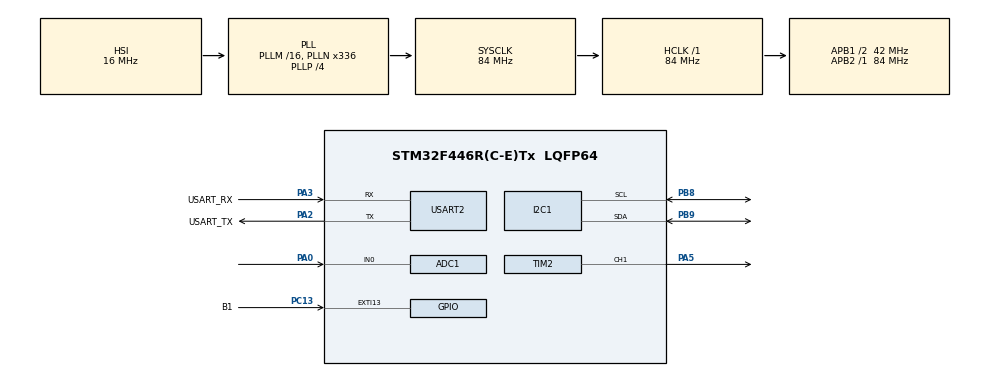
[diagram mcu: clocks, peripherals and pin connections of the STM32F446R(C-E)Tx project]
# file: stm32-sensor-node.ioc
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ADC1.Channel-0\#ChannelRegularConversion=ADC_CHANNEL_0
ADC1.Channel-1\#ChannelRegularConversion=ADC_CHANNEL_TEMPSENSOR
ADC1.Channel-2\#ChannelRegularConversion=ADC_CHANNEL_VREFINT
ADC1.ContinuousConvMode=ENABLE
ADC1.DMAContinuousRequests=ENABLE
ADC1.NbrOfConversion=3
ADC1.NbrOfConversionFlag=1
ADC1.Rank-0\#ChannelRegularConversion=1
ADC1.Rank-1\#ChannelRegularConversion=2
ADC1.Rank-2\#ChannelRegularConversion=3
ADC1.SamplingTime-0\#ChannelRegularConversion=ADC_SAMPLETIME_480CYCLES
ADC1.SamplingTime-1\#ChannelRegularConversion=ADC_SAMPLETIME_480CYCLES
ADC1.SamplingTime-2\#ChannelRegularConversion=ADC_SAMPLETIME_480CYCLES
ADC1.ScanConvMode=ENABLE
ADC1.master=1
Dma.ADC1.0.Direction=DMA_PERIPH_TO_MEMORY
Dma.ADC1.0.FIFOMode=DMA_FIFOMODE_DISABLE
Dma.ADC1.0.Instance=DMA2_Stream0
Dma.ADC1.0.MemDataAlignment=DMA_MDATAALIGN_HALFWORD
Dma.ADC1.0.MemInc=DMA_MINC_ENABLE
Dma.ADC1.0.Mode=DMA_CIRCULAR
Dma.ADC1.0.PeriphDataAlignment=DMA_PDATAALIGN_HALFWORD
Dma.ADC1.0.PeriphInc=DMA_PINC_DISABLE
Dma.ADC1.0.Priority=DMA_PRIORITY_LOW
Dma.Request0=ADC1
Mcu.Family=STM32F4
Mcu.Name=STM32F446R(C-E)Tx
Mcu.Package=LQFP64
NVIC.DMA2_Stream0_IRQn=true\:0\:0\:false\:false\:true\:false\:true\:true
NVIC.EXTI15_10_IRQn=true\:0\:0\:false\:false\:true\:true\:true\:true
NVIC.PriorityGroup=NVIC_PRIORITYGROUP_0
NVIC.TIM6_DAC_IRQn=true\:0\:0\:false\:false\:true\:true\:true\:true
NVIC.USART2_IRQn=true\:0\:0\:false\:false\:true\:true\:true\:true
PA0-WKUP.Signal=ADCx_IN0
PA13.GPIO_Label=TMS
PA13.Mode=Serial_Wire
PA13.Signal=SYS_JTMS-SWDIO
PA14.GPIO_Label=TCK
PA14.Mode=Serial_Wire
PA14.Signal=SYS_JTCK-SWCLK
PA2.GPIO_Label=USART_TX
PA2.Mode=Asynchronous
PA2.Signal=USART2_TX
PA3.GPIO_Label=USART_RX
PA3.Mode=Asynchronous
PA3.Signal=USART2_RX
PA5.Signal=S_TIM2_CH1_ETR
PB3.GPIO_Label=SWO
PB3.Signal=SYS_JTDO-SWO
PB8.Mode=I2C
PB8.Signal=I2C1_SCL
PB9.Mode=I2C
PB9.Signal=I2C1_SDA
PC13.GPIO_Label=B1
PC13.GPIO_ModeDefaultEXTI=GPIO_MODE_IT_FALLING
PC13.Signal=GPXTI13
PC14-OSC32_IN.Signal=RCC_OSC32_IN
PC15-OSC32_OUT.Signal=RCC_OSC32_OUT
PH0-OSC_IN.Signal=RCC_OSC_IN
PH1-OSC_OUT.Signal=RCC_OSC_OUT
ProjectManager.HeapSize=0x200
ProjectManager.StackSize=0x400
ProjectManager.TargetToolchain=STM32CubeIDE
RCC.AHBFreq_Value=84000000
RCC.APB1CLKDivider=RCC_HCLK_DIV2
RCC.APB1Freq_Value=42000000
RCC.APB1TimFreq_Value=84000000
RCC.APB2Freq_Value=84000000
RCC.APB2TimFreq_Value=84000000
RCC.CortexFreq_Value=84000000
RCC.FLatency-AdvancedSettings=FLASH_LATENCY_2
RCC.HCLKFreq_Value=84000000
RCC.HSE_VALUE=8000000
RCC.HSI_VALUE=16000000
RCC.LSE_VALUE=32768
RCC.PLLN=336
RCC.PLLP=RCC_PLLP_DIV4
RCC.SYSCLKFreq_VALUE=84000000
RCC.SYSCLKSource=RCC_SYSCLKSOURCE_PLLCLK
RCC.USBFreq_Value=168000000
RCC.VCOOutputFreq_Value=336000000
SH.ADCx_IN0.0=ADC1_IN0,IN0
SH.S_TIM2_CH1_ETR.0=TIM2_CH1,PWM Generation1 CH1
TIM2.Channel-PWM\ Generation1\ CH1=TIM_CHANNEL_1
TIM2.Period=999
TIM2.Prescaler=83
TIM6.Period=49999
TIM6.Prescaler=8399
USART2.VirtualMode=VM_ASYNC
VP_ADC1_TempSens_Input.Mode=IN-TempSens
VP_ADC1_Vref_Input.Mode=IN-Vrefint
VP_TIM2_VS_ClockSourceINT.Mode=Internal
VP_TIM6_VS_ClockSourceINT.Mode=Enable_Timer
board=NUCLEO-F446RE

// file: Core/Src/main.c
/* USER CODE BEGIN Header */
/**
  ******************************************************************************
  * @file           : main.c
  * @brief          : Main program body
  ******************************************************************************
  * @attention
  *
  * Copyright (c) 2026 STMicroelectronics.
  * All rights reserved.
  *
  * This software is licensed under terms that can be found in the LICENSE file
  * in the root directory of this software component.
  * If no LICENSE file comes with this software, it is provided AS-IS.
  *
  ******************************************************************************
  */
/* USER CODE END Header */
#include "main.h"

/* USER CODE BEGIN Includes */

#include <stdbool.h>
#include <string.h>
#include <stdio.h>
#include "bme280.h"

/* USER CODE END Includes */

/* USER CODE BEGIN PD */

#define QUEUE_SIZE                     64
#define COMMAND_MAX_LENGTH             32
#define ADC_MAX_COUNT                  4095
#define ADC_REFERENCE_MILLIVOLTS 3300
#define ADC_TIMEOUT_MS 10

#define ADC_CHANNEL_COUNT              3

#define ADC_SLOT_A0                    0
#define ADC_SLOT_CHIP_TEMPERATURE      1
#define ADC_SLOT_INTERNAL_REFERENCE    2

#define TS_CAL1_ADDRESS                ((const uint16_t *)0x1FFF7A2C)
#define TS_CAL2_ADDRESS                ((const uint16_t *)0x1FFF7A2E)
#define VREFINT_CAL_ADDRESS            ((const uint16_t *)0x1FFF7A2A)

#define FACTORY_SUPPLY_MILLIVOLTS      3300
#define TS_CAL1_TEMPERATURE_C          30
#define TS_CAL2_TEMPERATURE_C          110

/* USER CODE END PD */

ADC_HandleTypeDef hadc1;
DMA_HandleTypeDef hdma_adc1;

I2C_HandleTypeDef hi2c1;

TIM_HandleTypeDef htim2;
TIM_HandleTypeDef htim6;

UART_HandleTypeDef huart2;

/* USER CODE BEGIN PV */

volatile uint8_t button_pressed =   0;
uint32_t last_press_ms =            0;
uint8_t incoming_byte;
volatile uint8_t received_bytes[QUEUE_SIZE];
volatile uint8_t next_read_index =  0;
volatile uint8_t next_write_index = 0;
char command_text[COMMAND_MAX_LENGTH];
uint8_t command_length =            0;
uint32_t press_count;
char press_message[32];
bool bme280_ready = false;
volatile uint8_t report_timer_elapsed = 0;
bool auto_report_enabled = false;
uint8_t led_brightness_percent = 0;
volatile uint16_t adc_latest_counts[ADC_CHANNEL_COUNT];

/* USER CODE END PV */

void SystemClock_Config(void);
static void MX_GPIO_Init(void);
static void MX_DMA_Init(void);
static void MX_USART2_UART_Init(void);
static void MX_I2C1_Init(void);
static void MX_TIM2_Init(void);
static void MX_TIM6_Init(void);
static void MX_ADC1_Init(void);

/* USER CODE BEGIN 0 */

static uint32_t measure_supply_millivolts(void)
{
	uint32_t curvref = adc_latest_counts[ADC_SLOT_INTERNAL_REFERENCE];
	if(curvref == 0){ return 0; }
	uint32_t calc = (FACTORY_SUPPLY_MILLIVOLTS * (*VREFINT_CAL_ADDRESS)) / curvref;
	return calc;
}

static uint32_t measure_a0_millivolts(void)
{
	uint32_t latest_a0_count = adc_latest_counts[ADC_SLOT_A0];
	return (latest_a0_count * measure_supply_millivolts()) / ADC_MAX_COUNT;
}

static int32_t measure_chip_temperature_hundredths(void)
{
	int32_t sensor_count = adc_latest_counts[ADC_SLOT_CHIP_TEMPERATURE];
	int32_t sensor_count_at_factory_supply = (sensor_count * (int32_t)measure_supply_millivolts()) / FACTORY_SUPPLY_MILLIVOLTS;

	int32_t count_at_30c = *TS_CAL1_ADDRESS;
	int32_t count_at_110c = *TS_CAL2_ADDRESS;

	if(count_at_30c == count_at_110c) { return 0; }

	int32_t temp = 3000
			+ (((sensor_count_at_factory_supply - count_at_30c)
			* (TS_CAL2_TEMPERATURE_C - TS_CAL1_TEMPERATURE_C) * 100)
			/(count_at_110c - count_at_30c));

	return temp;
}

static uint32_t adc_count_to_millivolts(uint16_t raw_count)
{
    return ((uint32_t)raw_count * ADC_REFERENCE_MILLIVOLTS) / ADC_MAX_COUNT;
}

static bool read_a0_raw_count(uint16_t *a0_raw_count)
{
    if(HAL_ADC_Start(&hadc1) != HAL_OK){ return false; }
    if(HAL_ADC_PollForConversion(&hadc1, ADC_TIMEOUT_MS) != HAL_OK)
    {
    	HAL_ADC_Stop(&hadc1);
    	return false;
    }

    *a0_raw_count = (uint16_t)HAL_ADC_GetValue(&hadc1);
    HAL_ADC_Stop(&hadc1);
    return true;
}

static void set_led_brightness(uint8_t brightness_percent)
{
	if(brightness_percent > 100)
	{
		brightness_percent = 100;
	}
	led_brightness_percent = brightness_percent;

	uint16_t timer_ticks = (brightness_percent * 10);

	__HAL_TIM_SET_COMPARE(&htim2, TIM_CHANNEL_1, timer_ticks);
}

static int32_t celsius_to_fahrenheit_hundredths(int32_t celsius_hundredths)
{
	return ((celsius_hundredths * 9) / 5) + 3200;
}

static void send_message(const char *text)
{
	HAL_UART_Transmit(&huart2, (uint8_t *)text, strlen(text), HAL_MAX_DELAY);
}

static void send_reading(const char *label, int32_t value_hundredths, const char *unit)
{
	const char *sign = "";

	if (value_hundredths < 0)
	{
		sign = "-";
		value_hundredths = -value_hundredths;
	}

	char reading_message[48];

	snprintf(reading_message, sizeof(reading_message), "%s %s%ld.%02ld %s\r\n",
			label, sign, (long)value_hundredths / 100, (long)value_hundredths % 100, unit);

	send_message(reading_message);
}

static bool queue_add_byte(uint8_t byte)
{
	uint8_t index_after_write = (next_write_index + 1) & (QUEUE_SIZE -1);
	if (index_after_write == next_read_index)
	{
		return false;
	}
	received_bytes[next_write_index] = byte;
	next_write_index = index_after_write;
	return true;
}

static bool queue_is_empty(void)
{
	return next_write_index == next_read_index;
}

static uint8_t queue_take_byte(void)
{
	uint8_t byte_taken = received_bytes[next_read_index];
	next_read_index = (next_read_index + 1) & (QUEUE_SIZE - 1);
	return byte_taken;
}

static bool get_store_readings(bme_measurements *reading)
{
	if(!bme280_ready || !bme280_read(reading))
	{
		send_message("Sensor not responding\r\n");
		return false;
	}
	return true;
}

static void send_all_readings(void)
{
	bme_measurements readings;
	if(!get_store_readings(&readings)){ return; }
	send_reading("Temperature", readings.temperature_hundredths, "C");
	int32_t F = celsius_to_fahrenheit_hundredths(readings.temperature_hundredths);

	send_reading("Temperature", F, "F");
	send_reading("Humidity", (int32_t)readings.humidity_hundredths, "%");
	send_reading("Pressure", (int32_t)readings.pressure_pascals, "hPa");
}

static void run_command(void)
{
	if(command_length == 0)
	{
		return;
	}

	else if(strcmp(command_text, "led_on") == 0)
	{
		set_led_brightness(100);
		send_message("OK\r\n");
	}
	else if(strcmp(command_text, "led_off") == 0)
	{
		set_led_brightness(0);
		send_message("OK\r\n");
	}
	else if(strcmp(command_text, "status") == 0)
	{
		char status_message[48];
		snprintf(status_message, sizeof(status_message), "LED brightness %d%% Presses %lu\r\n",
				(int)led_brightness_percent, (unsigned long)press_count);
		send_message(status_message);
	}
	else if(strcmp(command_text, "sensor_id") == 0)
	{
		uint8_t sensor_id_value = 0;

		if (!bme280_read_id(&sensor_id_value))
		{
			send_message("Sensor not responding\r\n");
		}
		else
		{
			char id_message[32];
			snprintf(id_message, sizeof(id_message), "BME280 ID 0x%02X\r\n", sensor_id_value);
			send_message(id_message);
		}
	}
	else if (strcmp(command_text, "temp") == 0)
	{
		bme_measurements values;
		if(get_store_readings(&values))
		{
			send_reading("Temperature", values.temperature_hundredths, "C");
			send_reading("Temperature", celsius_to_fahrenheit_hundredths(values.temperature_hundredths), "F");
		}
	}
	else if (strcmp(command_text, "humidity") == 0)
	{
		bme_measurements values;
		if(get_store_readings(&values))
		{
			send_reading("Humidity", (int32_t)values.humidity_hundredths, "%");
		}
	}
	else if (strcmp(command_text, "pressure") == 0)
	{
		bme_measurements values;
		if(get_store_readings(&values))
		{
			send_reading("Pressure", (int32_t)values.pressure_pascals, "hPa");
		}
	}
	else if (strcmp(command_text, "read") == 0)
	{
		send_all_readings();
	}
	else if (strcmp(command_text, "auto_on") == 0)
	{
		auto_report_enabled = true;
		send_message("OK\r\n");
	}
	else if (strcmp(command_text, "auto_off") == 0)
	{
		auto_report_enabled = false;
		send_message("OK\r\n");
	}
	else if (strcmp(command_text, "a0_voltage") == 0)
	{
		char voltage_message[48];

		snprintf(voltage_message, sizeof(voltage_message), "A0 raw %u = %lu mV\r\n",
				(unsigned int)adc_latest_counts[ADC_SLOT_A0], (unsigned long)measure_a0_millivolts());
		send_message(voltage_message);
	}
	else if (strcmp(command_text, "supply_voltage") == 0)
	{
		char supply_message[32];
		snprintf(supply_message, sizeof(supply_message), "Supply %lu mV\r\n",
		         (unsigned long)measure_supply_millivolts());
		send_message(supply_message);
	}
	else if (strcmp(command_text, "chip_temp") == 0)
	{
		send_reading("Chip temperature", measure_chip_temperature_hundredths(), "C");

		bme_measurements room;
		if (get_store_readings(&room))
		{
			int32_t F = celsius_to_fahrenheit_hundredths(room.temperature_hundredths);
			send_reading("Room temperature (BME280)", room.temperature_hundredths, "C");
			send_reading("Room temperature (BME280)", F, "F");
		}
	}
	else if (strcmp(command_text, "crash_bad_address") == 0)
	{
		send_message("Reading from an address with no memory...\r\n");
		volatile uint32_t value_from_nowhere = *(volatile uint32_t *)0x20030000;
		(void)value_from_nowhere;
	}
	else if (strcmp(command_text, "crash_divide_by_zero") == 0)
	{
		send_message("Dividing by zero...\r\n");
		volatile int32_t numerator = 10;
		volatile int32_t denominator = 0;
		volatile int32_t result = numerator/denominator;
	}
	else
	{
		send_message("Unknown command\r\n");
	}
}

static uint8_t new_brightness(uint8_t current)
{
	uint8_t new = current +25;
	if (new > 100)
	{
		return 0;
	}
	else
	{
		return new;
	}
}

/* USER CODE END 0 */

int main(void)
{

  /* MCU Configuration--------------------------------------------------------*/

  /* Reset of all peripherals, Initializes the Flash interface and the Systick. */
  HAL_Init();

  /* Configure the system clock */
  SystemClock_Config();

  /* Initialize all configured peripherals */
  MX_GPIO_Init();
  MX_DMA_Init();
  MX_USART2_UART_Init();
  MX_I2C1_Init();
  MX_TIM2_Init();
  MX_TIM6_Init();
  MX_ADC1_Init();
  /* USER CODE BEGIN 2 */

  SCB->CCR |= SCB_CCR_DIV_0_TRP_Msk;

  if(HAL_ADC_Start_DMA(&hadc1, (uint32_t *)adc_latest_counts, ADC_CHANNEL_COUNT) != HAL_OK)
  {
	  Error_Handler();
  }
  bme280_ready = bme280_init(&hi2c1);

  HAL_TIM_Base_Start_IT(&htim6);
  HAL_TIM_PWM_Start(&htim2, TIM_CHANNEL_1);

  if(!bme280_ready)
  {
	  send_message("bme 280 is not ready\r\n");
  }

  HAL_UART_Receive_IT(&huart2, &incoming_byte, 1);
  send_message("\r\nReady. Commands: led_on, led_off, status, sensor_id, "
		  "temp, humidity, pressure, read, auto_on, auto_off, a0_voltage, supply_voltage, chip_temp, "
		  "crash_bad_address, crash_divide_by_zero\r\n> ");

  /* USER CODE END 2 */

  /* Infinite loop */
  while (1)
  {

    /* USER CODE BEGIN 3 */

	if(report_timer_elapsed == 1)
	{
		report_timer_elapsed = 0;
		if(auto_report_enabled == true)
		{
			send_all_readings();
		}
	}

	if(button_pressed)
	{
		press_count++;
		button_pressed = 0;
		int len = snprintf(press_message, sizeof(press_message), "Pressed %lu\r\n", (unsigned long)press_count);
		HAL_UART_Transmit(&huart2, (uint8_t *)press_message, len, HAL_MAX_DELAY);
		set_led_brightness(new_brightness(led_brightness_percent));
	}
	// while loop that transmits until queue is empty
	while(!queue_is_empty())
	{
		uint8_t current_byte = queue_take_byte();

		// enter
		if(current_byte == '\r')
		{
			send_message("\r\n");
			command_text[command_length] = '\0';
			run_command();
			command_length = 0;
			send_message("> ");
		}
		// backspace
		else if(current_byte == 0x7F || current_byte == '\b')
		{
			if(command_length > 0)
			{
				send_message("\b \b");
				command_length--;
			}

		}
		// normal character
		else if(command_length < (COMMAND_MAX_LENGTH - 1))
		{
			command_text[command_length] = current_byte;
			command_length++;
			HAL_UART_Transmit(&huart2, &current_byte, 1, HAL_MAX_DELAY);
		}

	}
  }
  /* USER CODE END 3 */
}

void SystemClock_Config(void)
{
  RCC_OscInitTypeDef RCC_OscInitStruct = {0};
  RCC_ClkInitTypeDef RCC_ClkInitStruct = {0};

  /** Configure the main internal regulator output voltage
  */
  __HAL_RCC_PWR_CLK_ENABLE();
  __HAL_PWR_VOLTAGESCALING_CONFIG(PWR_REGULATOR_VOLTAGE_SCALE3);

  /** Initializes the RCC Oscillators according to the specified parameters
  * in the RCC_OscInitTypeDef structure.
  */
  RCC_OscInitStruct.OscillatorType = RCC_OSCILLATORTYPE_HSI;
  RCC_OscInitStruct.HSIState = RCC_HSI_ON;
  RCC_OscInitStruct.HSICalibrationValue = RCC_HSICALIBRATION_DEFAULT;
  RCC_OscInitStruct.PLL.PLLState = RCC_PLL_ON;
  RCC_OscInitStruct.PLL.PLLSource = RCC_PLLSOURCE_HSI;
  RCC_OscInitStruct.PLL.PLLM = 16;
  RCC_OscInitStruct.PLL.PLLN = 336;
  RCC_OscInitStruct.PLL.PLLP = RCC_PLLP_DIV4;
  RCC_OscInitStruct.PLL.PLLQ = 2;
  RCC_OscInitStruct.PLL.PLLR = 2;
  if (HAL_RCC_OscConfig(&RCC_OscInitStruct) != HAL_OK)
  {
    Error_Handler();
  }

  /** Initializes the CPU, AHB and APB buses clocks
  */
  RCC_ClkInitStruct.ClockType = RCC_CLOCKTYPE_HCLK|RCC_CLOCKTYPE_SYSCLK
                              |RCC_CLOCKTYPE_PCLK1|RCC_CLOCKTYPE_PCLK2;
  RCC_ClkInitStruct.SYSCLKSource = RCC_SYSCLKSOURCE_PLLCLK;
  RCC_ClkInitStruct.AHBCLKDivider = RCC_SYSCLK_DIV1;
  RCC_ClkInitStruct.APB1CLKDivider = RCC_HCLK_DIV2;
  RCC_ClkInitStruct.APB2CLKDivider = RCC_HCLK_DIV1;

  if (HAL_RCC_ClockConfig(&RCC_ClkInitStruct, FLASH_LATENCY_2) != HAL_OK)
  {
    Error_Handler();
  }
}

static void MX_ADC1_Init(void)
{

  ADC_ChannelConfTypeDef sConfig = {0};

  /** Configure the global features of the ADC (Clock, Resolution, Data Alignment and number of conversion)
  */
  hadc1.Instance = ADC1;
  hadc1.Init.ClockPrescaler = ADC_CLOCK_SYNC_PCLK_DIV4;
  hadc1.Init.Resolution = ADC_RESOLUTION_12B;
  hadc1.Init.ScanConvMode = ENABLE;
  hadc1.Init.ContinuousConvMode = ENABLE;
  hadc1.Init.DiscontinuousConvMode = DISABLE;
  hadc1.Init.ExternalTrigConvEdge = ADC_EXTERNALTRIGCONVEDGE_NONE;
  hadc1.Init.ExternalTrigConv = ADC_SOFTWARE_START;
  hadc1.Init.DataAlign = ADC_DATAALIGN_RIGHT;
  hadc1.Init.NbrOfConversion = 3;
  hadc1.Init.DMAContinuousRequests = ENABLE;
  hadc1.Init.EOCSelection = ADC_EOC_SINGLE_CONV;
  if (HAL_ADC_Init(&hadc1) != HAL_OK)
  {
    Error_Handler();
  }

  /** Configure for the selected ADC regular channel its corresponding rank in the sequencer and its sample time.
  */
  sConfig.Channel = ADC_CHANNEL_0;
  sConfig.Rank = 1;
  sConfig.SamplingTime = ADC_SAMPLETIME_480CYCLES;
  if (HAL_ADC_ConfigChannel(&hadc1, &sConfig) != HAL_OK)
  {
    Error_Handler();
  }

  /** Configure for the selected ADC regular channel its corresponding rank in the sequencer and its sample time.
  */
  sConfig.Channel = ADC_CHANNEL_TEMPSENSOR;
  sConfig.Rank = 2;
  if (HAL_ADC_ConfigChannel(&hadc1, &sConfig) != HAL_OK)
  {
    Error_Handler();
  }

  /** Configure for the selected ADC regular channel its corresponding rank in the sequencer and its sample time.
  */
  sConfig.Channel = ADC_CHANNEL_VREFINT;
  sConfig.Rank = 3;
  if (HAL_ADC_ConfigChannel(&hadc1, &sConfig) != HAL_OK)
  {
    Error_Handler();
  }

}

static void MX_I2C1_Init(void)
{

  hi2c1.Instance = I2C1;
  hi2c1.Init.ClockSpeed = 100000;
  hi2c1.Init.DutyCycle = I2C_DUTYCYCLE_2;
  hi2c1.Init.OwnAddress1 = 0;
  hi2c1.Init.AddressingMode = I2C_ADDRESSINGMODE_7BIT;
  hi2c1.Init.DualAddressMode = I2C_DUALADDRESS_DISABLE;
  hi2c1.Init.OwnAddress2 = 0;
  hi2c1.Init.GeneralCallMode = I2C_GENERALCALL_DISABLE;
  hi2c1.Init.NoStretchMode = I2C_NOSTRETCH_DISABLE;
  if (HAL_I2C_Init(&hi2c1) != HAL_OK)
  {
    Error_Handler();
  }

}

static void MX_TIM2_Init(void)
{

  TIM_ClockConfigTypeDef sClockSourceConfig = {0};
  TIM_MasterConfigTypeDef sMasterConfig = {0};
  TIM_OC_InitTypeDef sConfigOC = {0};

  htim2.Instance = TIM2;
  htim2.Init.Prescaler = 83;
  htim2.Init.CounterMode = TIM_COUNTERMODE_UP;
  htim2.Init.Period = 999;
  htim2.Init.ClockDivision = TIM_CLOCKDIVISION_DIV1;
  htim2.Init.AutoReloadPreload = TIM_AUTORELOAD_PRELOAD_DISABLE;
  if (HAL_TIM_Base_Init(&htim2) != HAL_OK)
  {
    Error_Handler();
  }
  sClockSourceConfig.ClockSource = TIM_CLOCKSOURCE_INTERNAL;
  if (HAL_TIM_ConfigClockSource(&htim2, &sClockSourceConfig) != HAL_OK)
  {
    Error_Handler();
  }
  if (HAL_TIM_PWM_Init(&htim2) != HAL_OK)
  {
    Error_Handler();
  }
  sMasterConfig.MasterOutputTrigger = TIM_TRGO_RESET;
  sMasterConfig.MasterSlaveMode = TIM_MASTERSLAVEMODE_DISABLE;
  if (HAL_TIMEx_MasterConfigSynchronization(&htim2, &sMasterConfig) != HAL_OK)
  {
    Error_Handler();
  }
  sConfigOC.OCMode = TIM_OCMODE_PWM1;
  sConfigOC.Pulse = 0;
  sConfigOC.OCPolarity = TIM_OCPOLARITY_HIGH;
  sConfigOC.OCFastMode = TIM_OCFAST_DISABLE;
  if (HAL_TIM_PWM_ConfigChannel(&htim2, &sConfigOC, TIM_CHANNEL_1) != HAL_OK)
  {
    Error_Handler();
  }
  HAL_TIM_MspPostInit(&htim2);

}

static void MX_TIM6_Init(void)
{

  TIM_MasterConfigTypeDef sMasterConfig = {0};

  htim6.Instance = TIM6;
  htim6.Init.Prescaler = 8399;
  htim6.Init.CounterMode = TIM_COUNTERMODE_UP;
  htim6.Init.Period = 49999;
  htim6.Init.AutoReloadPreload = TIM_AUTORELOAD_PRELOAD_DISABLE;
  if (HAL_TIM_Base_Init(&htim6) != HAL_OK)
  {
    Error_Handler();
  }
  sMasterConfig.MasterOutputTrigger = TIM_TRGO_RESET;
  sMasterConfig.MasterSlaveMode = TIM_MASTERSLAVEMODE_DISABLE;
  if (HAL_TIMEx_MasterConfigSynchronization(&htim6, &sMasterConfig) != HAL_OK)
  {
    Error_Handler();
  }

}

static void MX_USART2_UART_Init(void)
{

  huart2.Instance = USART2;
  huart2.Init.BaudRate = 115200;
  huart2.Init.WordLength = UART_WORDLENGTH_8B;
  huart2.Init.StopBits = UART_STOPBITS_1;
  huart2.Init.Parity = UART_PARITY_NONE;
  huart2.Init.Mode = UART_MODE_TX_RX;
  huart2.Init.HwFlowCtl = UART_HWCONTROL_NONE;
  huart2.Init.OverSampling = UART_OVERSAMPLING_16;
  if (HAL_UART_Init(&huart2) != HAL_OK)
  {
    Error_Handler();
  }

}

static void MX_DMA_Init(void)
{

  /* DMA controller clock enable */
  __HAL_RCC_DMA2_CLK_ENABLE();

  /* DMA interrupt init */
  /* DMA2_Stream0_IRQn interrupt configuration */
  HAL_NVIC_SetPriority(DMA2_Stream0_IRQn, 0, 0);
  HAL_NVIC_EnableIRQ(DMA2_Stream0_IRQn);

}

static void MX_GPIO_Init(void)
{
  GPIO_InitTypeDef GPIO_InitStruct = {0};

  /* GPIO Ports Clock Enable */
  __HAL_RCC_GPIOC_CLK_ENABLE();
  __HAL_RCC_GPIOH_CLK_ENABLE();
  __HAL_RCC_GPIOA_CLK_ENABLE();
  __HAL_RCC_GPIOB_CLK_ENABLE();

  /*Configure GPIO pin : B1_Pin */
  GPIO_InitStruct.Pin = B1_Pin;
  GPIO_InitStruct.Mode = GPIO_MODE_IT_FALLING;
  GPIO_InitStruct.Pull = GPIO_NOPULL;
  HAL_GPIO_Init(B1_GPIO_Port, &GPIO_InitStruct);

  /* EXTI interrupt init*/
  HAL_NVIC_SetPriority(EXTI15_10_IRQn, 0, 0);
  HAL_NVIC_EnableIRQ(EXTI15_10_IRQn);

}

/* USER CODE BEGIN 4 */

void HAL_TIM_PeriodElapsedCallback(TIM_HandleTypeDef *htim)
{
	if(htim == &htim6)
	{
		report_timer_elapsed = 1;
	}
}

void HAL_GPIO_EXTI_Callback(uint16_t GPIO_Pin)
{
	if(GPIO_Pin == B1_Pin)
	{
		uint32_t now = HAL_GetTick();
		if(now - last_press_ms >= 50)
		{
			last_press_ms = now;
			button_pressed = 1;
		}
	}
}
void HAL_UART_RxCpltCallback(UART_HandleTypeDef *huart)
{
	if(huart == &huart2)
	{

		queue_add_byte(incoming_byte);
		HAL_UART_Receive_IT(&huart2, &incoming_byte, 1);
	}
}

/* USER CODE END 4 */

void Error_Handler(void)
{
  __disable_irq();
  while (1)
  {
  }
}
